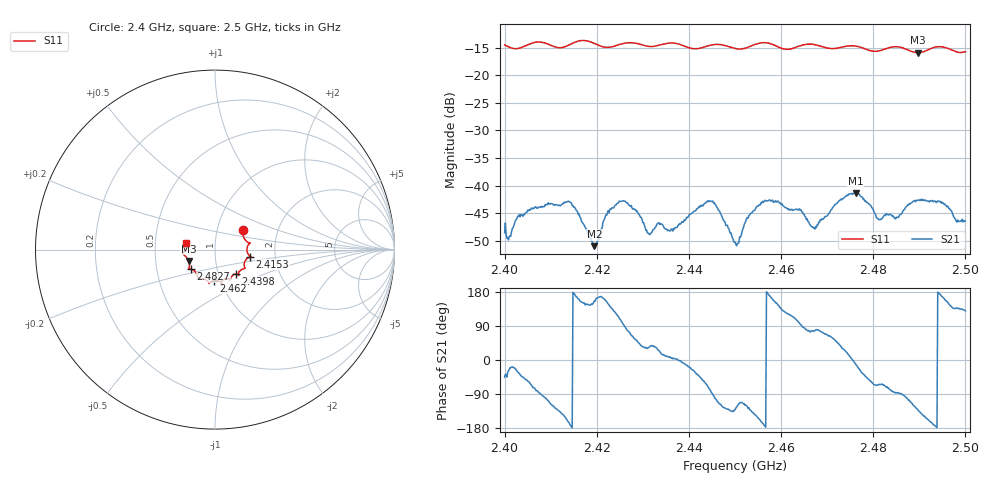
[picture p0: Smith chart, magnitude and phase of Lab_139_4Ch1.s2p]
# Hz S RI R 50
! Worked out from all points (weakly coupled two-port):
!   601 points, 2.4 GHz to 2.5 GHz, reference 50 ohm
!   highest |S21| = -41.36 dB at 2.4762 GHz (marker M1); lowest = -51.0 dB at 2.4195 GHz (marker M2)
!   lowest |S11| = -15.9 dB at 2.4897 GHz (marker M3), VSWR 1.38, Z = 36.9 - j4.83 ohm
!   |S11| at or under -10 dB: start of sweep to end of sweep
!   S12 and S22 are empty: the file has one direction only
!   S11 on the Smith chart (normalised r, x): 2.4 GHz: 1.33, +0.29; 2.4153 GHz: 1.48, -0.12; 2.4398 GHz: 1.21, -0.34; 2.462 GHz: 0.93, -0.33; 2.4827 GHz: 0.75, -0.17; 2.5 GHz: 0.72, +0.06
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2.4e9  0.1554 0.1068  0.00263 -0.00265  0 0  0 0
2.406333e9  0.1944 0.0372  0.00189 -0.00599  0 0  0 0
2.415333e9  0.196 -0.0389  -0.00615 0.000972  0 0  0 0
2.416667e9  0.2021 -0.0429  -0.00425 0.00216  0 0  0 0
2.4195e9  0.1897 -0.043  -0.00257 0.00116  0 0  0 0
2.422333e9  0.1655 -0.0679  -0.00492 0.00279  0 0  0 0
2.425333e9  0.1654 -0.0982  -0.00155 0.00701  0 0  0 0
2.431167e9  0.1414 -0.116  0.00314 0.00197  0 0  0 0
2.433333e9  0.1307 -0.1333  0.0041 0.002  0 0  0 0
2.436e9  0.1324 -0.1448  0.00386 0.000443  0 0  0 0
2.439833e9  0.116 -0.1359  0.00496 -0.00158  0 0  0 0
2.445e9  0.0845 -0.1686  0.00032 -0.00716  0 0  0 0
2.45e9  0.0655 -0.1625  -0.00204 -0.0023  0 0  0 0
2.456167e9  0.0386 -0.1939  -0.00691 -0.00133  0 0  0 0
2.462e9  -0.00518 -0.1729  -0.00294 0.00529  0 0  0 0
2.466667e9  -0.0346 -0.1882  0.000932 0.00413  0 0  0 0
2.476167e9  -0.0952 -0.1575  0.00841 -0.00156  0 0  0 0
2.481167e9  -0.1204 -0.1141  0.00212 -0.00443  0 0  0 0
2.482667e9  -0.135 -0.1091  0.00187 -0.005  0 0  0 0
2.483333e9  -0.1403 -0.1087  0.0015 -0.00519  0 0  0 0
2.489667e9  -0.1466 -0.0637  -0.00485 -0.00557  0 0  0 0
2.5e9  -0.1591 0.0383  -0.00303 0.00367  0 0  0 0
